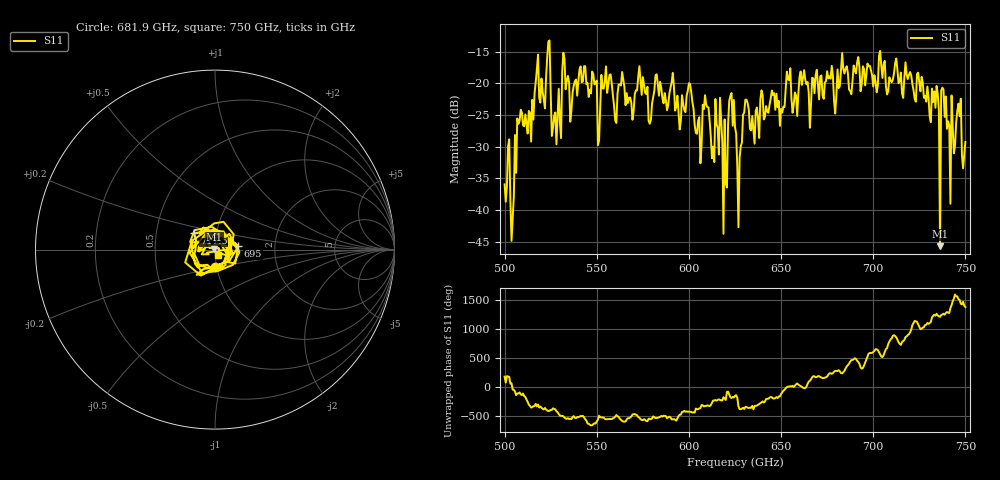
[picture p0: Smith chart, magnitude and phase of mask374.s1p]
!Created with skrf (http://scikit-rf.org).
# GHz S MA R 50.0
!freq magS11 angS11
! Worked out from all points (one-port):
!   401 points, 500 GHz to 750 GHz, reference 50 ohm
!   lowest |S11| = -45.7 dB at 736.2 GHz (marker M1), VSWR 1.01, Z = 49.6 + j0.369 ohm
!   |S11| at or under -10 dB: start of sweep to end of sweep
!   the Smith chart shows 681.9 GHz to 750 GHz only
!   S11 on the Smith chart (normalised r, x): 681.9 GHz: 0.98, -0.19; 695 GHz: 1.29, +0.05; 717.5 GHz: 0.78, +0.15; 750 GHz: 1.04, -0.06
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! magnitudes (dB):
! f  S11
! 500 GHz  -36.0
! 504.4 GHz  -41.4
! 508.1 GHz  -26.0
! 517.5 GHz  -17.8
! 523.8 GHz  -13.4
! 526.9 GHz  -25.2
! 531.2 GHz  -18.0
! 562.5 GHz  -20.1
! 593.8 GHz  -21.9
! 600.6 GHz  -20.1
! 605.6 GHz  -25.4
! 609.4 GHz  -23.4
! 619.4 GHz  -25.7
! 623.1 GHz  -21.5
! 625 GHz  -26.9
! 627.5 GHz  -31.8
! 630.6 GHz  -22.6
! 656.2 GHz  -24.6
! 681.9 GHz  -20.4
! 687.5 GHz  -21.2
! 695 GHz  -17.7
! 717.5 GHz  -16.7
! 718.8 GHz  -19.3
! 736.2 GHz  -45.7
! 738.1 GHz  -21.0
! 743.1 GHz  -26.9
! 746.2 GHz  -23.2
! 750 GHz  -29.3
